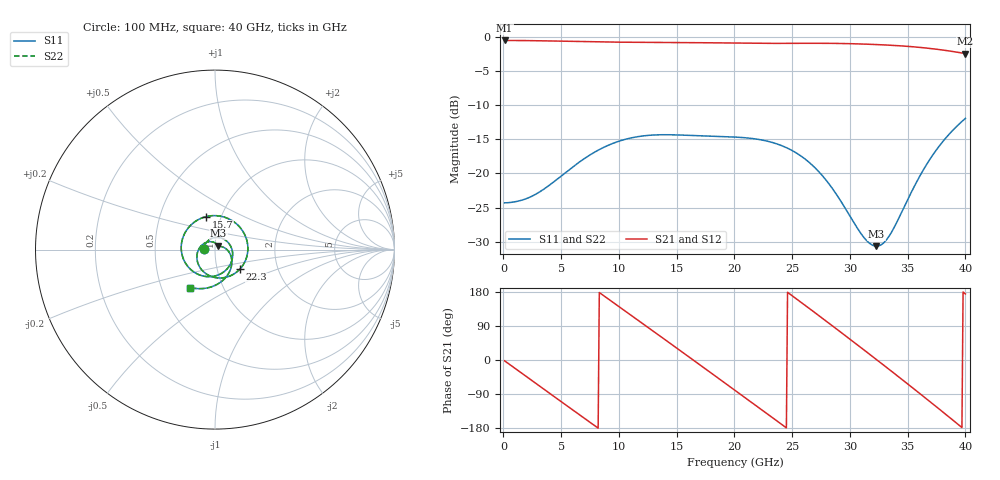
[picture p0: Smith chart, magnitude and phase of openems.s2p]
! A_s4_d200_ap1000: L1→L4 through L2/L3, drill Ø0.2, antipad Ø1, 4 GND vias at 1 mm
! stackup: 4-layer 1.6 mm FR-4
! ports: 1, 2
! openEMS 0.37.0, staircase, fine mesh (dfine 0.0175 mm), 1048215 cells
# Hz S RI R 50
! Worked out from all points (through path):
!   400 points, 100 MHz to 40 GHz, reference 50 ohm
!   highest |S21| = -0.55 dB at 100 MHz (marker M1); lowest = -2.5 dB at 40 GHz (marker M2)
!   group delay of S21, straight-line fit = 62.4 ps
!   lowest |S11| = -30.6 dB at 32.3 GHz (marker M3), VSWR 1.06, Z = 51.8 + j2.36 ohm
!   |S11| at or under -10 dB: start of sweep to end of sweep
!   |S22| runs from -30.6 to -12.0 dB; largest |S21 - S12| = 4.2e-07
!   S11 on the Smith chart (normalised r, x): 100 MHz: 0.89, +0.01; 15.7 GHz: 0.85, +0.33; 22.3 GHz: 1.28, -0.29; 40 GHz: 0.70, -0.32
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1e8  -0.0608 0.00407  0.938 -0.0361  0.938 -0.0361  -0.0608 0.00407
1.7e9  -0.0269 0.0582  0.7438 -0.57  0.7438 -0.57  -0.0269 0.0582
3.6e9  0.0555 0.0545  0.1739 -0.916  0.1739 -0.916  0.0555 0.0545
5.1e9  0.0968 -0.00894  -0.3493 -0.8589  -0.3493 -0.8589  0.0968 -0.00894
6.8e9  0.0721 -0.102  -0.7917 -0.4704  -0.7917 -0.4704  0.0721 -0.102
9.6e9  -0.0959 -0.1371  -0.7881 0.4604  -0.7881 0.4604  -0.0959 -0.1371
1.16e10  -0.1827 -0.032  -0.2521 0.874  -0.2521 0.874  -0.1827 -0.032
1.34e10  -0.1685 0.0911  0.3593 0.8339  0.3593 0.8339  -0.1685 0.0911
1.57e10  -0.0477 0.1842  0.8702 0.2514  0.8702 0.2514  -0.0477 0.1842
1.77e10  0.0831 0.1681  0.7966 -0.4243  0.7966 -0.4243  0.0831 0.1681
2.01e10  0.1801 0.0392  0.1379 -0.8869  0.1379 -0.8869  0.1801 0.0392
2.23e10  0.138 -0.1093  -0.5745 -0.6851  -0.5745 -0.6851  0.138 -0.1093
2.45e10  -0.00592 -0.1542  -0.8937 -0.0137  -0.8937 -0.0137  -0.00592 -0.1542
2.67e10  -0.0994 -0.0594  -0.5884 0.6746  -0.5884 0.6746  -0.0994 -0.0594
2.93e10  -0.045 0.0412  0.2863 0.8446  0.2863 0.8446  -0.045 0.0412
3.09e10  0.00124 0.0369  0.7335 0.4951  0.7335 0.4951  0.00124 0.0369
3.23e10  0.0186 0.0227  0.8759 0.0177  0.8759 0.0177  0.0186 0.0227
3.34e10  0.0297 0.0181  0.7868 -0.3646  0.7868 -0.3646  0.0297 0.0181
3.5e10  0.0641 0.00231  0.3847 -0.758  0.3847 -0.758  0.0641 0.00231
3.65e10  0.0935 -0.06  -0.1346 -0.8171  -0.1346 -0.8171  0.0935 -0.06
3.84e10  0.029 -0.1833  -0.6548 -0.444  -0.6548 -0.444  0.029 -0.1833
4e10  -0.1377 -0.2118  -0.7484 0.0748  -0.7484 0.0748  -0.1377 -0.2118
